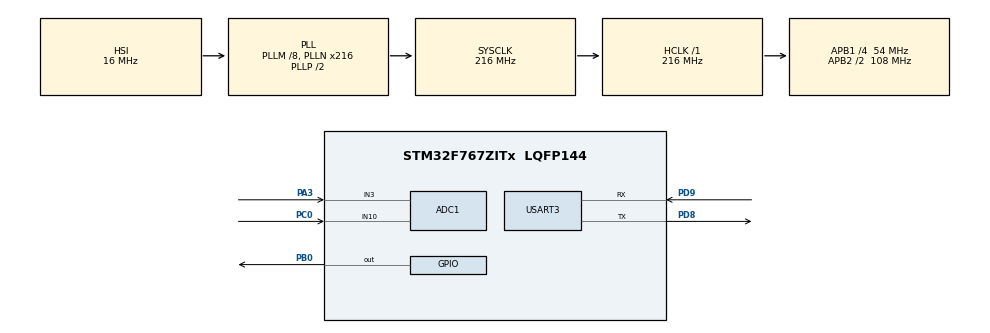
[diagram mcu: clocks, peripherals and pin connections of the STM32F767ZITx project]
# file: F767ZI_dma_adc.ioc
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ADC1.Channel-0\#ChannelRegularConversion=ADC_CHANNEL_3
ADC1.Channel-1\#ChannelRegularConversion=ADC_CHANNEL_10
ADC1.ContinuousConvMode=ENABLE
ADC1.DMAContinuousRequests=ENABLE
ADC1.DiscontinuousConvMode=DISABLE
ADC1.EOCSelection=ADC_EOC_SEQ_CONV
ADC1.NbrOfConversion=2
ADC1.NbrOfConversionFlag=1
ADC1.Rank-0\#ChannelRegularConversion=1
ADC1.Rank-1\#ChannelRegularConversion=2
ADC1.SamplingTime-0\#ChannelRegularConversion=ADC_SAMPLETIME_112CYCLES
ADC1.SamplingTime-1\#ChannelRegularConversion=ADC_SAMPLETIME_112CYCLES
ADC1.master=1
Dma.ADC1.0.Direction=DMA_PERIPH_TO_MEMORY
Dma.ADC1.0.FIFOMode=DMA_FIFOMODE_DISABLE
Dma.ADC1.0.Instance=DMA2_Stream0
Dma.ADC1.0.MemDataAlignment=DMA_MDATAALIGN_HALFWORD
Dma.ADC1.0.MemInc=DMA_MINC_ENABLE
Dma.ADC1.0.Mode=DMA_CIRCULAR
Dma.ADC1.0.PeriphDataAlignment=DMA_PDATAALIGN_HALFWORD
Dma.ADC1.0.PeriphInc=DMA_PINC_DISABLE
Dma.ADC1.0.Priority=DMA_PRIORITY_LOW
Dma.Request0=ADC1
Mcu.Family=STM32F7
Mcu.Name=STM32F767ZITx
Mcu.Package=LQFP144
NVIC.DMA2_Stream0_IRQn=true\:0\:0\:false\:false\:true\:false\:true\:true
NVIC.PriorityGroup=NVIC_PRIORITYGROUP_4
NVIC.TIM7_IRQn=true\:0\:0\:false\:false\:true\:true\:true\:true
PA3.Signal=ADCx_IN3
PB0.Signal=GPIO_Output
PC0.Signal=ADCx_IN10
PD8.Mode=Asynchronous
PD8.Signal=USART3_TX
PD9.Mode=Asynchronous
PD9.Signal=USART3_RX
ProjectManager.HeapSize=0x200
ProjectManager.StackSize=0x400
ProjectManager.TargetToolchain=STM32CubeIDE
RCC.AHBFreq_Value=216000000
RCC.APB1CLKDivider=RCC_HCLK_DIV4
RCC.APB1Freq_Value=54000000
RCC.APB1TimFreq_Value=108000000
RCC.APB2CLKDivider=RCC_HCLK_DIV2
RCC.APB2Freq_Value=108000000
RCC.APB2TimFreq_Value=216000000
RCC.CortexFreq_Value=216000000
RCC.HCLKFreq_Value=216000000
RCC.HSE_VALUE=25000000
RCC.HSI_VALUE=16000000
RCC.LSE_VALUE=32768
RCC.PLLM=8
RCC.PLLN=216
RCC.SYSCLKFreq_VALUE=216000000
RCC.SYSCLKSource=RCC_SYSCLKSOURCE_PLLCLK
RCC.USBFreq_Value=216000000
RCC.VCOOutputFreq_Value=432000000
SH.ADCx_IN10.0=ADC1_IN10,IN10
SH.ADCx_IN3.0=ADC1_IN3,IN3
TIM7.Period=2000-1
TIM7.Prescaler=54000-1
USART3.VirtualMode-Asynchronous=VM_ASYNC
VP_TIM7_VS_ClockSourceINT.Mode=Enable_Timer
board=custom

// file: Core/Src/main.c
/* USER CODE BEGIN Header */
/**
  ******************************************************************************
  * @file           : main.c
  * @brief          : Main program body
  ******************************************************************************
  * @attention
  *
  * Copyright (c) 2022 STMicroelectronics.
  * All rights reserved.
  *
  * This software is licensed under terms that can be found in the LICENSE file
  * in the root directory of this software component.
  * If no LICENSE file comes with this software, it is provided AS-IS.
  *
  ******************************************************************************
  */
/* USER CODE END Header */
#include "main.h"

/* USER CODE BEGIN Includes */
#include <stdio.h>
/* USER CODE END Includes */

ADC_HandleTypeDef hadc1;
DMA_HandleTypeDef hdma_adc1;

TIM_HandleTypeDef htim7;

UART_HandleTypeDef huart3;

/* USER CODE BEGIN PV */
#define AD_NUM 2
static uint16_t ad_values[AD_NUM];
/* USER CODE END PV */

void SystemClock_Config(void);
static void MX_GPIO_Init(void);
static void MX_TIM7_Init(void);
static void MX_USART3_UART_Init(void);
static void MX_DMA_Init(void);
static void MX_ADC1_Init(void);

/* USER CODE BEGIN 0 */
#ifdef __GNUC__
#define PUTCHAR_PROTOTYPE int __io_putchar(int ch)
#else
#define PUTCHAR_PROTOTYPE int fputc(int ch, FILE *f)
#endif
PUTCHAR_PROTOTYPE
{
 HAL_UART_Transmit(&huart3, (uint8_t *)&ch, 1, 0xFFFF);
 return ch;
}

void HAL_TIM_PeriodElapsedCallback(TIM_HandleTypeDef *htim)
{
    if (htim == &htim7){
    	HAL_GPIO_TogglePin(GPIOB, GPIO_PIN_0);
    }
}

/* USER CODE END 0 */

int main(void)
{

  /* MCU Configuration--------------------------------------------------------*/

  /* Reset of all peripherals, Initializes the Flash interface and the Systick. */
  HAL_Init();

  /* Configure the system clock */
  SystemClock_Config();

  /* Initialize all configured peripherals */
  MX_GPIO_Init();
  MX_TIM7_Init();
  MX_USART3_UART_Init();
  MX_DMA_Init();
  MX_ADC1_Init();
  /* USER CODE BEGIN 2 */
  HAL_TIM_Base_Start_IT(&htim7);
  HAL_ADC_Start_DMA(&hadc1, (uint32_t *)ad_values, AD_NUM);
  /* USER CODE END 2 */

  /* Infinite loop */
  /* USER CODE BEGIN WHILE */
  float a[AD_NUM];
  while (1)
  {
    /* USER CODE END WHILE */

    /* USER CODE BEGIN 3 */
	  for(int i=0; i<AD_NUM; i++){
		  a[i] = (float)ad_values[i] * 3.3f / 4096.f;
	  }
	  printf("%f %f\r\n", a[0], a[1]);
	  HAL_Delay(1);
  }
  /* USER CODE END 3 */
}

void SystemClock_Config(void)
{
  RCC_OscInitTypeDef RCC_OscInitStruct = {0};
  RCC_ClkInitTypeDef RCC_ClkInitStruct = {0};

  /** Configure the main internal regulator output voltage
  */
  __HAL_RCC_PWR_CLK_ENABLE();
  __HAL_PWR_VOLTAGESCALING_CONFIG(PWR_REGULATOR_VOLTAGE_SCALE1);

  /** Initializes the RCC Oscillators according to the specified parameters
  * in the RCC_OscInitTypeDef structure.
  */
  RCC_OscInitStruct.OscillatorType = RCC_OSCILLATORTYPE_HSI;
  RCC_OscInitStruct.HSIState = RCC_HSI_ON;
  RCC_OscInitStruct.HSICalibrationValue = RCC_HSICALIBRATION_DEFAULT;
  RCC_OscInitStruct.PLL.PLLState = RCC_PLL_ON;
  RCC_OscInitStruct.PLL.PLLSource = RCC_PLLSOURCE_HSI;
  RCC_OscInitStruct.PLL.PLLM = 8;
  RCC_OscInitStruct.PLL.PLLN = 216;
  RCC_OscInitStruct.PLL.PLLP = RCC_PLLP_DIV2;
  RCC_OscInitStruct.PLL.PLLQ = 2;
  RCC_OscInitStruct.PLL.PLLR = 2;
  if (HAL_RCC_OscConfig(&RCC_OscInitStruct) != HAL_OK)
  {
    Error_Handler();
  }

  /** Activate the Over-Drive mode
  */
  if (HAL_PWREx_EnableOverDrive() != HAL_OK)
  {
    Error_Handler();
  }

  /** Initializes the CPU, AHB and APB buses clocks
  */
  RCC_ClkInitStruct.ClockType = RCC_CLOCKTYPE_HCLK|RCC_CLOCKTYPE_SYSCLK
                              |RCC_CLOCKTYPE_PCLK1|RCC_CLOCKTYPE_PCLK2;
  RCC_ClkInitStruct.SYSCLKSource = RCC_SYSCLKSOURCE_PLLCLK;
  RCC_ClkInitStruct.AHBCLKDivider = RCC_SYSCLK_DIV1;
  RCC_ClkInitStruct.APB1CLKDivider = RCC_HCLK_DIV4;
  RCC_ClkInitStruct.APB2CLKDivider = RCC_HCLK_DIV2;

  if (HAL_RCC_ClockConfig(&RCC_ClkInitStruct, FLASH_LATENCY_7) != HAL_OK)
  {
    Error_Handler();
  }
}

static void MX_ADC1_Init(void)
{

  ADC_ChannelConfTypeDef sConfig = {0};

  /** Configure the global features of the ADC (Clock, Resolution, Data Alignment and number of conversion)
  */
  hadc1.Instance = ADC1;
  hadc1.Init.ClockPrescaler = ADC_CLOCK_SYNC_PCLK_DIV4;
  hadc1.Init.Resolution = ADC_RESOLUTION_12B;
  hadc1.Init.ScanConvMode = ADC_SCAN_ENABLE;
  hadc1.Init.ContinuousConvMode = ENABLE;
  hadc1.Init.DiscontinuousConvMode = DISABLE;
  hadc1.Init.ExternalTrigConvEdge = ADC_EXTERNALTRIGCONVEDGE_NONE;
  hadc1.Init.ExternalTrigConv = ADC_SOFTWARE_START;
  hadc1.Init.DataAlign = ADC_DATAALIGN_RIGHT;
  hadc1.Init.NbrOfConversion = 2;
  hadc1.Init.DMAContinuousRequests = ENABLE;
  hadc1.Init.EOCSelection = ADC_EOC_SEQ_CONV;
  if (HAL_ADC_Init(&hadc1) != HAL_OK)
  {
    Error_Handler();
  }

  /** Configure for the selected ADC regular channel its corresponding rank in the sequencer and its sample time.
  */
  sConfig.Channel = ADC_CHANNEL_3;
  sConfig.Rank = ADC_REGULAR_RANK_1;
  sConfig.SamplingTime = ADC_SAMPLETIME_112CYCLES;
  if (HAL_ADC_ConfigChannel(&hadc1, &sConfig) != HAL_OK)
  {
    Error_Handler();
  }

  /** Configure for the selected ADC regular channel its corresponding rank in the sequencer and its sample time.
  */
  sConfig.Channel = ADC_CHANNEL_10;
  sConfig.Rank = ADC_REGULAR_RANK_2;
  if (HAL_ADC_ConfigChannel(&hadc1, &sConfig) != HAL_OK)
  {
    Error_Handler();
  }

}

static void MX_TIM7_Init(void)
{

  TIM_MasterConfigTypeDef sMasterConfig = {0};

  htim7.Instance = TIM7;
  htim7.Init.Prescaler = 54000-1;
  htim7.Init.CounterMode = TIM_COUNTERMODE_UP;
  htim7.Init.Period = 2000-1;
  htim7.Init.AutoReloadPreload = TIM_AUTORELOAD_PRELOAD_DISABLE;
  if (HAL_TIM_Base_Init(&htim7) != HAL_OK)
  {
    Error_Handler();
  }
  sMasterConfig.MasterOutputTrigger = TIM_TRGO_RESET;
  sMasterConfig.MasterSlaveMode = TIM_MASTERSLAVEMODE_DISABLE;
  if (HAL_TIMEx_MasterConfigSynchronization(&htim7, &sMasterConfig) != HAL_OK)
  {
    Error_Handler();
  }

}

static void MX_USART3_UART_Init(void)
{

  huart3.Instance = USART3;
  huart3.Init.BaudRate = 115200;
  huart3.Init.WordLength = UART_WORDLENGTH_8B;
  huart3.Init.StopBits = UART_STOPBITS_1;
  huart3.Init.Parity = UART_PARITY_NONE;
  huart3.Init.Mode = UART_MODE_TX_RX;
  huart3.Init.HwFlowCtl = UART_HWCONTROL_NONE;
  huart3.Init.OverSampling = UART_OVERSAMPLING_16;
  huart3.Init.OneBitSampling = UART_ONE_BIT_SAMPLE_DISABLE;
  huart3.AdvancedInit.AdvFeatureInit = UART_ADVFEATURE_NO_INIT;
  if (HAL_UART_Init(&huart3) != HAL_OK)
  {
    Error_Handler();
  }

}

static void MX_DMA_Init(void)
{

  /* DMA controller clock enable */
  __HAL_RCC_DMA2_CLK_ENABLE();

  /* DMA interrupt init */
  /* DMA2_Stream0_IRQn interrupt configuration */
  HAL_NVIC_SetPriority(DMA2_Stream0_IRQn, 0, 0);
  HAL_NVIC_EnableIRQ(DMA2_Stream0_IRQn);

}

static void MX_GPIO_Init(void)
{
  GPIO_InitTypeDef GPIO_InitStruct = {0};

  /* GPIO Ports Clock Enable */
  __HAL_RCC_GPIOC_CLK_ENABLE();
  __HAL_RCC_GPIOA_CLK_ENABLE();
  __HAL_RCC_GPIOB_CLK_ENABLE();
  __HAL_RCC_GPIOD_CLK_ENABLE();

  /*Configure GPIO pin Output Level */
  HAL_GPIO_WritePin(GPIOB, GPIO_PIN_0, GPIO_PIN_RESET);

  /*Configure GPIO pin : PB0 */
  GPIO_InitStruct.Pin = GPIO_PIN_0;
  GPIO_InitStruct.Mode = GPIO_MODE_OUTPUT_PP;
  GPIO_InitStruct.Pull = GPIO_NOPULL;
  GPIO_InitStruct.Speed = GPIO_SPEED_FREQ_LOW;
  HAL_GPIO_Init(GPIOB, &GPIO_InitStruct);

}

void Error_Handler(void)
{
  __disable_irq();
  while (1)
  {
  }
}
